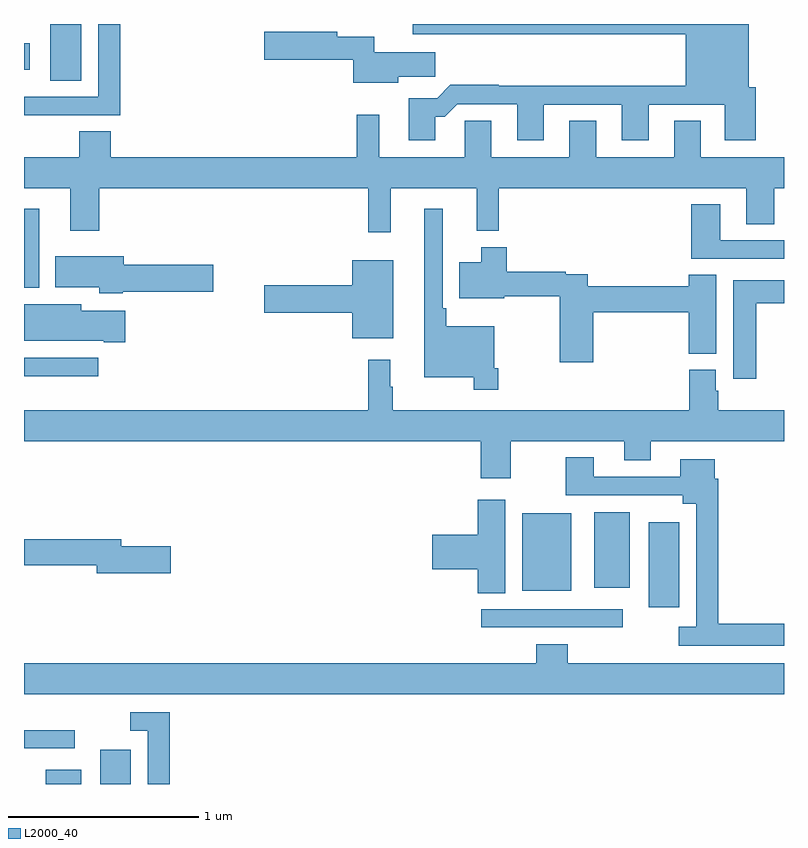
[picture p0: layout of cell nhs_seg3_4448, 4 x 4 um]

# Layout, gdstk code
import gdstk
lib = gdstk.Library(unit=1e-6, precision=1e-09)
def R(c, l, rs):  # rectangles x0, y0, x1, y1
    for r in rs: c.add(gdstk.rectangle(r[:2], r[2:], *l))
def P(c, l, *ps):  # polygons
    for p in ps: c.add(gdstk.Polygon(p, *l))
L2000_40 = (2000, 40)

nhs_seg3_4448 = lib.new_cell('nhs_seg3_4448')
R(nhs_seg3_4448, L2000_40, [(347.114,744.4,347.302,744.475), (347.402,744.4,347.563,744.58), (347,744.588,347.266,744.684), (349.407,745.224,350.152,745.32), (350.288,745.329,350.449,745.777), (349.622,745.418,349.879,745.825), (350,745.433,350.188,745.831), (347,746.546,347.392,746.643), (347,747.011,347.08,747.427), (347.138,748.102,347.302,748.4), (347,748.16,347.029,748.3)])
P(nhs_seg3_4448, L2000_40, [(349.165,747.911),(349.214,747.911),(349.281,747.978),(349.595,747.978),(349.595,747.789),(349.735,747.789),(349.735,747.975),(350.147,747.975),(350.147,747.789),(350.287,747.789),(350.287,747.975),(350.687,747.975),(350.687,747.789),(350.852,747.789),(350.852,748.068),(350.815,748.068),(350.815,748.4),(349.046,748.4),(349.046,748.346),(350.483,748.346),(350.483,748.076),(349.499,748.076),(349.499,748.079),(349.244,748.079),(349.174,748.009),(349.025,748.009),(349.025,747.789),(349.165,747.789)],
  [(347.207,747.921),(347.507,747.921),(347.507,748.4),(347.391,748.4),(347.391,748.017),(347,748.017),(347,747.919),(347.207,747.919)],
  [(348.97,748.123),(349.165,748.123),(349.165,748.252),(348.844,748.252),(348.844,748.333),(348.648,748.333),(348.648,748.358),(348.264,748.358),(348.264,748.211),(348.734,748.211),(348.734,748.091),(348.97,748.091)],
  [(348.929,747.536),(349.382,747.536),(349.382,747.311),(349.499,747.311),(349.499,747.536),(350.801,747.536),(350.801,747.346),(350.949,747.346),(350.949,747.536),(351,747.536),(351,747.7),(350.563,747.7),(350.563,747.89),(350.423,747.89),(350.423,747.7),(350.011,747.7),(350.011,747.89),(349.871,747.89),(349.871,747.7),(349.459,747.7),(349.459,747.89),(349.32,747.89),(349.32,747.7),(348.871,747.7),(348.871,747.922),(348.75,747.922),(348.75,747.7),(347.456,747.7),(347.456,747.836),(347.291,747.836),(347.291,747.7),(347,747.7),(347,747.536),(347.243,747.536),(347.243,747.312),(347.396,747.312),(347.396,747.536),(348.811,747.536),(348.811,747.303),(348.929,747.303)],
  [(351,747.261),(350.665,747.261),(350.665,747.451),(350.513,747.451),(350.513,747.165),(351,747.165)],
  [(349.496,746.587),(349.476,746.587),(349.476,746.809),(349.223,746.809),(349.223,746.905),(349.203,746.905),(349.203,747.427),(349.106,747.427),(349.106,746.54),(349.368,746.54),(349.368,746.475),(349.496,746.475)],
  [(349.997,746.884),(350.498,746.884),(350.498,746.665),(350.644,746.665),(350.644,747.08),(350.498,747.08),(350.498,747.02),(349.967,747.02),(349.967,747.084),(349.85,747.084),(349.85,747.097),(349.541,747.097),(349.541,747.226),(349.406,747.226),(349.406,747.145),(349.292,747.145),(349.292,746.957),(349.528,746.957),(349.528,746.968),(349.819,746.968),(349.819,746.619),(349.997,746.619)],
  [(347.52,746.99),(347.995,746.99),(347.995,747.132),(347.524,747.132),(347.524,747.178),(347.165,747.178),(347.165,747.014),(347.395,747.014),(347.395,746.984),(347.52,746.984)],
  [(348.943,747.157),(348.728,747.157),(348.728,747.026),(348.264,747.026),(348.264,746.879),(348.728,746.879),(348.728,746.747),(348.943,746.747)],
  [(350.854,746.93),(351,746.93),(351,747.052),(350.732,747.052),(350.732,746.532),(350.854,746.532)],
  [(347.533,746.89),(347.302,746.89),(347.302,746.926),(347.076,746.926),(347.076,746.925),(347,746.925),(347,746.732),(347.42,746.732),(347.42,746.725),(347.533,746.725)],
  [(349.563,746.204),(350.159,746.204),(350.159,746.105),(350.299,746.105),(350.299,746.204),(351,746.204),(351,746.368),(350.654,746.368),(350.654,746.469),(350.641,746.469),(350.641,746.58),(350.501,746.58),(350.501,746.368),(348.94,746.368),(348.94,746.492),(348.928,746.492),(348.928,746.632),(348.811,746.632),(348.811,746.368),(347,746.368),(347,746.204),(349.403,746.204),(349.403,746.01),(349.563,746.01)],
  [(351,745.244),(350.654,745.244),(350.654,746.006),(350.635,746.006),(350.635,746.11),(350.453,746.11),(350.453,746.016),(349.999,746.016),(349.999,746.119),(349.852,746.119),(349.852,745.92),(350.468,745.92),(350.468,745.874),(350.538,745.874),(350.538,745.228),(350.445,745.228),(350.445,745.128),(351,745.128)],
  [(349.534,745.897),(349.388,745.897),(349.388,745.712),(349.149,745.712),(349.149,745.529),(349.388,745.529),(349.388,745.405),(349.534,745.405)],
  [(347.773,745.652),(347.512,745.652),(347.512,745.688),(347,745.688),(347,745.552),(347.384,745.552),(347.384,745.51),(347.773,745.51)],
  [(351,745.036),(349.862,745.036),(349.862,745.135),(349.697,745.135),(349.697,745.036),(347,745.036),(347,744.872),(351,744.872)],
  [(347.768,744.777),(347.559,744.777),(347.559,744.681),(347.652,744.681),(347.652,744.4),(347.768,744.4)])

lib.write_gds('nhs_seg3_4448.gds')
